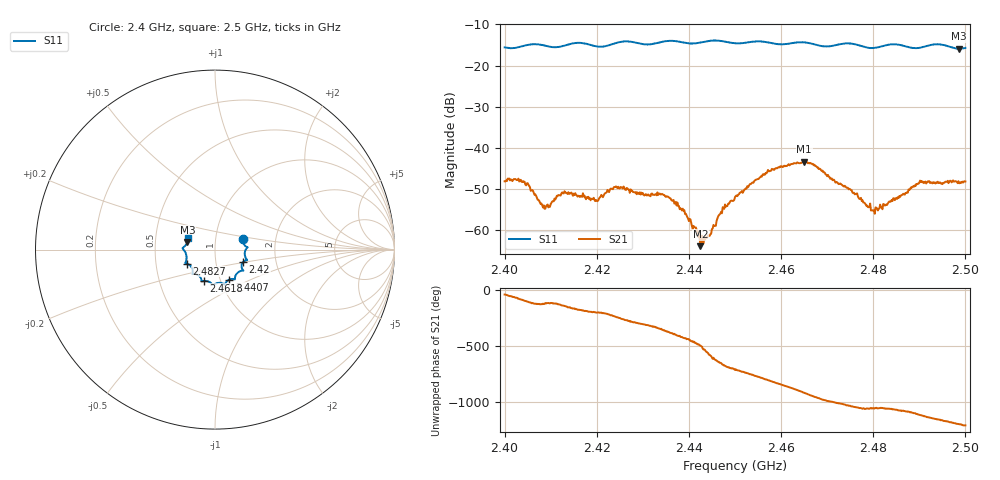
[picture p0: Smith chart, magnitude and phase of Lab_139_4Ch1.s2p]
# Hz S RI R 50
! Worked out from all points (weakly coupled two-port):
!   601 points, 2.4 GHz to 2.5 GHz, reference 50 ohm
!   highest |S21| = -43.40 dB at 2.465 GHz (marker M1); lowest = -64.0 dB at 2.4425 GHz (marker M2)
!   lowest |S11| = -15.9 dB at 2.4987 GHz (marker M3), VSWR 1.38, Z = 36.5 + j3.23 ohm
!   |S11| at or under -10 dB: start of sweep to end of sweep
!   S12 and S22 are empty: the file has one direction only
!   S11 on the Smith chart (normalised r, x): 2.4 GHz: 1.35, +0.17; 2.42 GHz: 1.35, -0.19; 2.4407 GHz: 1.10, -0.38; 2.4618 GHz: 0.83, -0.30; 2.4827 GHz: 0.72, -0.12; 2.5 GHz: 0.73, +0.10
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2.4e9  0.1545 0.0615  0.00307 -0.00238  0 0  0 0
2.4045e9  0.1748 0.0155  -0.000376 -0.00353  0 0  0 0
2.408667e9  0.1751 0.00573  -0.000957 -0.00152  0 0  0 0
2.412833e9  0.1689 -0.0407  -0.00206 -0.00185  0 0  0 0
2.416667e9  0.1788 -0.0584  -0.00254 -0.000124  0 0  0 0
2.42e9  0.1563 -0.069  -0.00211 0.000782  0 0  0 0
2.424167e9  0.1527 -0.1097  -0.00176 0.00287  0 0  0 0
2.433333e9  0.1116 -0.153  0.0025 0.000878  0 0  0 0
2.437e9  0.1094 -0.1655  0.00166 -0.00128  0 0  0 0
2.440667e9  0.0792 -0.1675  -0.000187 -0.00108  0 0  0 0
2.4425e9  0.0629 -0.1797  -0.000459 -0.00043  0 0  0 0
2.444333e9  0.0551 -0.1916  -0.000671 0.000522  0 0  0 0
2.45e9  0.0269 -0.1849  0.00248 0.000185  0 0  0 0
2.461833e9  -0.0614 -0.1748  -0.00537 -0.00285  0 0  0 0
2.465e9  -0.0747 -0.1762  -0.00634 0.00233  0 0  0 0
2.466667e9  -0.0757 -0.1681  -0.00425 0.00474  0 0  0 0
2.48e9  -0.1348 -0.0919  0.00157 0.000635  0 0  0 0
2.482667e9  -0.1581 -0.0777  0.00188 0.000627  0 0  0 0
2.483333e9  -0.162 -0.0769  0.00208 0.0006  0 0  0 0
2.490333e9  -0.1646 -0.0168  0.00285 -0.0025  0 0  0 0
2.498667e9  -0.1539 0.0431  -0.00205 -0.00305  0 0  0 0
2.5e9  -0.1509 0.0633  -0.0027 -0.00276  0 0  0 0
